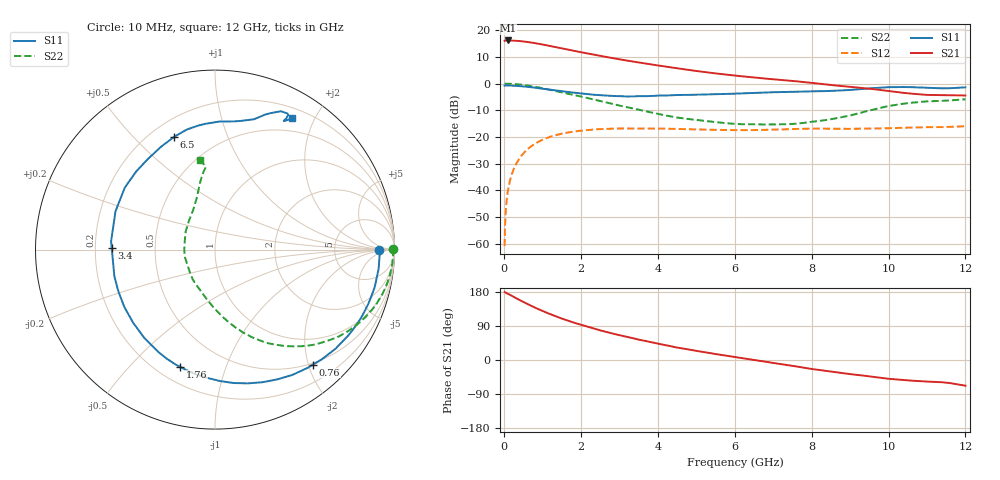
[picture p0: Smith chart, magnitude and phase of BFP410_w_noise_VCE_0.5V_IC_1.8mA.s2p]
! Infineon Technologies  Discrete & RF Semiconductors
! BFP410
! VCE =  0.5 V,  IC =  1.8 mA
! Common Emitter S-Parameters:  Nov 2015
# GHz  S  MA  R  50
!  f  S11  S21  S12  S22
! GHz  MAG  ANG  MAG  ANG  MAG  ANG  MAG  ANG
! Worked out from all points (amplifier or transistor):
!   243 points, 10 MHz to 12 GHz, reference 50 ohm
!   highest |S21| = 16.1 dB at 100 MHz (marker M1)
!   |S21| within 3 dB of that: start of sweep to 1.51 GHz
!   unconditionally stable (mu >= 1): 4.131 GHz to end of sweep
!   at 240 MHz: K = 0.05, MSG = 24.2 dB, |S12| = -32.3 dB
!   at 1.84 GHz: K = 0.40, MSG = 15.1 dB, |S12| = -17.9 dB
!   at 12 GHz: K = 1.16, MAG = 3.3 dB, |S12| = -16.0 dB
!   lowest NFmin = 0.81 dB at 900 MHz
!   S11 on the Smith chart (normalised r, x): 10 MHz: 23, +0; 760 MHz: 0.47, -2.08; 1.76 GHz: 0.29, -0.70; 3.4 GHz: 0.27, +0.01; 6.5 GHz: 0.29, +0.66; 12 GHz: 0.33, +1.70
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0.01  0.9151 0.0  6.312 179.5  0.0009 87.7  0.9915 0.2
0.02  0.9183 -1.3  6.398 179.0  0.002 87.1  0.9917 -0.6
0.04  0.9179 -2.6  6.378 177.5  0.0041 88.8  0.9921 -1.5
0.1  0.9179 -6.6  6.403 174.6  0.0102 86.5  0.9912 -4.1
0.22  0.9119 -14.5  6.365 168.0  0.0223 81.4  0.9825 -9.1
0.4  0.896 -26.3  6.249 158.3  0.0398 74.3  0.9581 -16.4
0.6  0.8695 -39.4  6.005 147.7  0.0581 66.8  0.9184 -24.2
0.76  0.8421 -49.5  5.764 140.2  0.0713 60.9  0.8797 -30.0
0.96  0.8079 -62.0  5.443 130.9  0.086 54.1  0.8264 -36.8
1.2  0.7672 -76.3  5.045 120.7  0.101 46.5  0.7614 -44.2
1.4  0.7329 -87.8  4.703 112.7  0.1106 40.7  0.7071 -49.7
1.76  0.6813 -106.7  4.167 100.2  0.1242 31.8  0.6222 -58.1
2.02  0.6495 -119.7  3.829 92.1  0.1315 26.1  0.5665 -63.5
2.6  0.5979 -147.7  3.194 75.4  0.1412 14.8  0.4515 -74.9
3.4  0.5753 179.3  2.544 56.3  0.144 3.3  0.3346 -89.4
4.1  0.5945 156.2  2.129 41.1  0.1432 -4.1  0.2608 -104.0
5  0.6183 135.2  1.715 23.9  0.1384 -11.2  0.2082 -126.3
6.1  0.6502 116.1  1.385 6.3  0.1341 -15.7  0.174 -154.3
6.5  0.668 110.0  1.297 0.0  0.1343 -16.9  0.1728 -166.4
8.2  0.7169 84.7  0.993 -26.4  0.1427 -24.9  0.1994 141.7
10.2  0.8563 63.3  0.696 -51.2  0.1469 -31.8  0.3993 101.3
12  0.8486 59.5  0.597 -67.8  0.1586 -41.1  0.5065 99.8
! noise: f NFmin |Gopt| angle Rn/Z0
0.45  0.85  0.54  8  0.31
0.9  0.81  0.52  22  0.28
1.8  1.05  0.41  56  0.24
2.4  1.11  0.38  66  0.23
5.5  2.29  0.37  -144  0.22
10  4.11  0.71  -57  2.47
